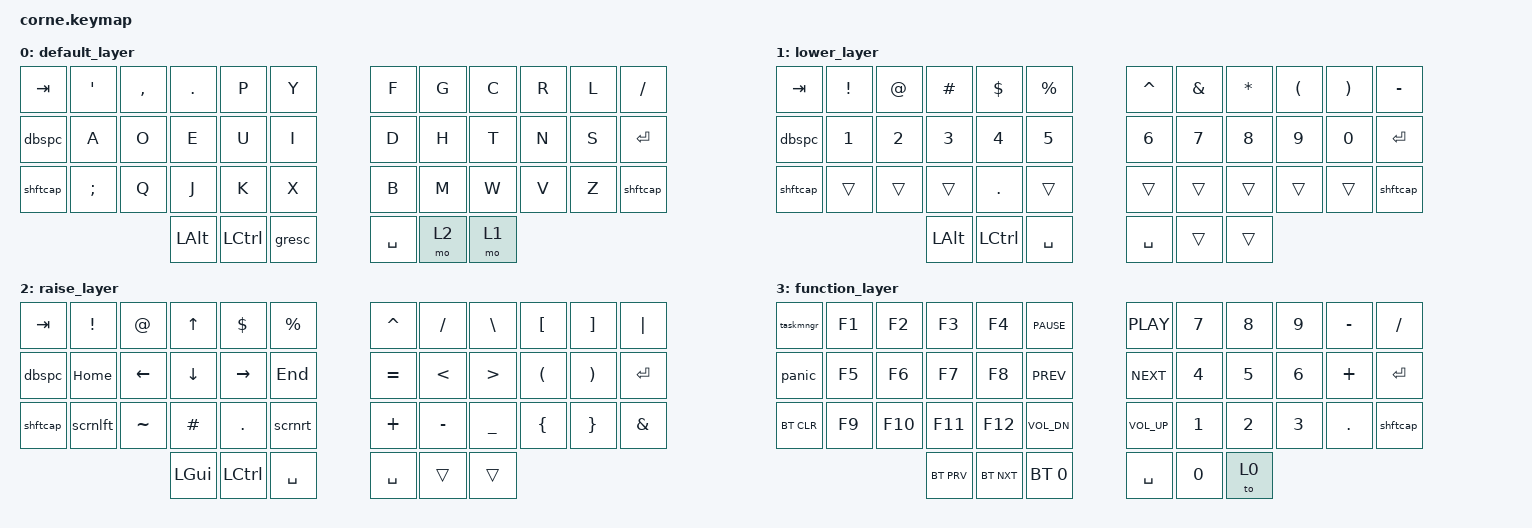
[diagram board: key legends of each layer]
/*
 * Copyright (c) 2020 The ZMK Contributors
 *
 * SPDX-License-Identifier: MIT
 */

#include <behaviors.dtsi>
#include <dt-bindings/zmk/keys.h>
#include <dt-bindings/zmk/bt.h>

&sk {
    release-after-ms = <2000>;
    quick-release;
};

/ {

    macros {
        scrnrt: screen_right {
            label = "SCREEN_RIGHT";
            compatible = "zmk,behavior-macro";
            #binding-cells = <0>;
            wait-ms = <0>;
            bindings
                = <&macro_press &kp LGUI &kp LCTRL>
                , <&macro_tap &kp RIGHT>
                , <&macro_release &kp LGUI &kp LCTRL>
                ;
        };
        scrnlft: screen_left {
            label = "SCREEN_LEFT";
            compatible = "zmk,behavior-macro";
            #binding-cells = <0>;
            wait-ms = <0>;
            bindings
                = <&macro_press &kp LGUI &kp LCTRL>
                , <&macro_tap &kp LEFT>
                , <&macro_release &kp LGUI &kp LCTRL>
                ;
        };
        taskmngr: ctrl_shft_esc {
            label = "TASK_MANAGER";
            compatible = "zmk,behavior-macro";
            #binding-cells = <0>;
            wait-ms = <0>;
            bindings
                = <&macro_press &kp LCTRL &kp LSHFT &kp ESC>
                , <&macro_release &kp LCTRL &kp LSHFT &kp ESC>
                ; 
        };
        panic: ctrl_alt_del {
            label = "PANIC";
            compatible = "zmk,behavior-macro";
            #binding-cells = <0>;
            wait-ms = <0>;
            bindings
                = <&macro_press &kp LCTRL &kp LALT &kp DEL>
                , <&macro_release &kp LCTRL &kp LALT &kp DEL>
                ; 
        };
    };

    combos {
        compatible = "zmk,combos";
        combo_gui {
            timeout-ms = <50>;
            key-positions = <36 37>;
            bindings = <&kp LGUI>;
        };
        combo_lyr {
            timeout-ms = <20>;
            key-positions = <40 41>;
            bindings = <&to 3>;
        };        
    };

    behaviors {
        dbspc: del_backspace {
            compatible = "zmk,behavior-mod-morph";
            label = "SHIFT_BACKSPACE_DELETE";
            #binding-cells = <0>;
            bindings = <&kp BSPC>, <&kp DEL>;
            mods = <(MOD_LSFT|MOD_RSFT)>;
        };
        shftcap: shift_caps {
            compatible = "zmk,behavior-mod-morph";
            label = "SHIFT_CAPS";
            #binding-cells = <0>;
            bindings = <&sk LSHIFT>, <&kp CAPSLOCK>;
            mods = <(MOD_LALT)>;
        };
        shflyr1: shift_layer1 {
            compatible = "zmk,behavior-mod-morph";
            label = "SHIFT_LAYER1";
            #binding-cells = <0>;
            bindings = <&mo 1>, <&to 1>;
            mods = <(MOD_LSFT|MOD_RSFT)>; 
        };
        shflyr2: shift_layer2 {
            compatible = "zmk,behavior-mod-morph";
            label = "SHIFT_LAYER2";
            #binding-cells = <0>;
            bindings = <&mo 2>, <&to 2>;
            mods = <(MOD_LSFT|MOD_RSFT)>; 
        };
    };

        keymap {
                compatible = "zmk,keymap";

                default_layer {
// layer 0
// --------------------------------------------------------------------------------------
//  | TAB  |  '  |  ,  |  .  |  p   |  y  |          |  f  | g  | c  |  r  |  l  | /    |
//  | BKSP |  a  |  o  |  e  |  u   |  i  |          |  d  | h  | t  |  n  |  s  | ENT  |
//  | SHFT |  ;  |  q  |  j  |  k   |  x  |          |  b  | m  | w  |  v  |  z  | SHFT |
//                     | ALT | CTRL | ESC |          | SPC | L2 | L1 |
                        bindings = <
 &kp TAB   &kp SQT  &kp COMMA &kp DOT  &kp P     &kp Y              &kp F     &kp G &kp C &kp R &kp L &kp SLASH
 &dbspc    &kp A    &kp O     &kp E    &kp U     &kp I              &kp D     &kp H &kp T &kp N &kp S &kp RET
 &shftcap  &kp SEMI &kp Q     &kp J    &kp K     &kp X              &kp B     &kp M &kp W &kp V &kp Z &shftcap
                              &kp LALT &kp LCTRL &gresc             &kp SPACE &mo 2 &mo 1

// querty alt
// &kp TAB &kp Q &kp W &kp E &kp R &kp T &kp Y &kp U &kp I &kp O &kp P &kp LBRC
// &dbspc &kp A &kp S &kp D &kp F &kp G &kp H &kp J &kp K &kp L &kp SEMI &kp RET
// &shftcap &kp Z &kp X &kp C &kp V &kp B &kp N &kp M &kp COMMA &kp DOT &kp SLASH &shftcap
// &kp LALT &kp LCTRL &gresc &kp SPACE &mo 2 &mo 1

                        >;
                };

                lower_layer {
// layer 1
// ----------------------------------------------------------------------------------------
// | TAB  |  !   |  @  |  #   | $    | %   |          | ^   | &  | *  |  (  |  )  | -     |
// | BKSP |  1   |  2  |  3   | 4    | 5   |          | 6   | 7  | 8  |  9  |  0  | ENT   |
// | SHFT |  F1  |  F2 |  F3  | .    | F5  |          | F6  | F7 | F8 |  F9 | F10 | SHIFT |
//                     | ALT  | CTRL | SPC |          | SPC |    |    |
                        bindings = <
   &kp TAB   &kp EXCL &kp AT &kp HASH &kp DLLR  &kp PERCENT          &kp CARET &kp AMPS &kp STAR &kp LPAR  &kp RPAR &kp MINUS
   &dbspc    &kp N1   &kp N2 &kp N3   &kp N4    &kp N5               &kp N6    &kp N7   &kp N8   &kp N9    &kp N0   &kp RET
   &shftcap  &trans   &trans &trans   &kp DOT   &trans               &trans    &trans   &trans   &trans    &trans   &shftcap
                             &kp LALT &kp LCTRL &kp SPACE            &kp SPACE &trans   &trans
                        >;
                };

                raise_layer {
// layer 2
// ----------------------------------------------------------------------------------------------
// | TAB   |   !     |  @  |  UP  |  $   |  %     |          | ^   |  /  |  \  |  [  | ]  | "|" |
// | BKSP  | HOME    | LFT | DOWN | RGT  | END    |          | =   |  <  |  >  |  (  | )  | ENT |
// | SHIFT | scrnlft |  ~  | #    | .    | scrnrt |          | +   |  -  |  _  |  {  | }  | &   |
//                         | LGUI  | CTRL | SPC   |          | SPC |     |     |
                        bindings = <
  &kp TAB  &kp EXCL &kp AT    &kp UP   &kp DLLR  &kp PERCENT         &kp CARET &kp SLASH &kp BACKSLASH &kp LBKT &kp RBKT &kp PIPE 
  &dbspc   &kp HOME &kp LEFT  &kp DOWN &kp RIGHT &kp END             &kp EQUAL &kp LT    &kp GT        &kp LPAR &kp RPAR &kp RET
  &shftcap &scrnlft &kp TILDE &kp HASH &kp DOT   &scrnrt             &kp PLUS  &kp MINUS &kp UNDER     &kp LBRC &kp RBRC &kp AMPS 
                              &kp LGUI &kp LCTRL &kp SPACE           &kp SPACE &trans    &trans
                        >;
                };
                
                function_layer {
// layer 3
// ----------------------------------------------------------------------------------------------------
// | CTRL + SHFT + ESC | F1 | F2  | F3     | F4     | PSE  |          | PLY | 7 | 8   | 9 | - | /     |
// | CTRL + ALT + DEL  | F5 | F6  | F7     | F8     | PREV |          | NXT | 4 | 5   | 6 | + | ENT   |
// | BT_CLR            | F9 | F10 | F11    | F12    | VDWN |          | VUP | 1 | 2   | 3 | . | SHIFT |
//                                | BT_PRV | BT_NXT | BT_0 |          | SPC | 0 | to0 |
                        bindings = <
  &taskmngr  &kp F1 &kp F2  &kp F3     &kp F4      &kp C_PAUSE         &kp C_PLAY   &kp N7 &kp N8 &kp N9 &kp MINUS &kp SLASH 
  &panic     &kp F5 &kp F6  &kp F7     &kp F8      &kp C_PREV          &kp C_NEXT   &kp N4 &kp N5 &kp N6 &kp PLUS  &kp RET
  &bt BT_CLR &kp F9 &kp F10 &kp F11    &kp F12     &kp C_VOL_DN        &kp C_VOL_UP &kp N1 &kp N2 &kp N3 &kp DOT   &shftcap
                            &bt BT_PRV &bt BT_NXT  &bt BT_SEL 0        &kp SPACE    &kp N0 &to 0
                        >;
                };     
               
        };
};
